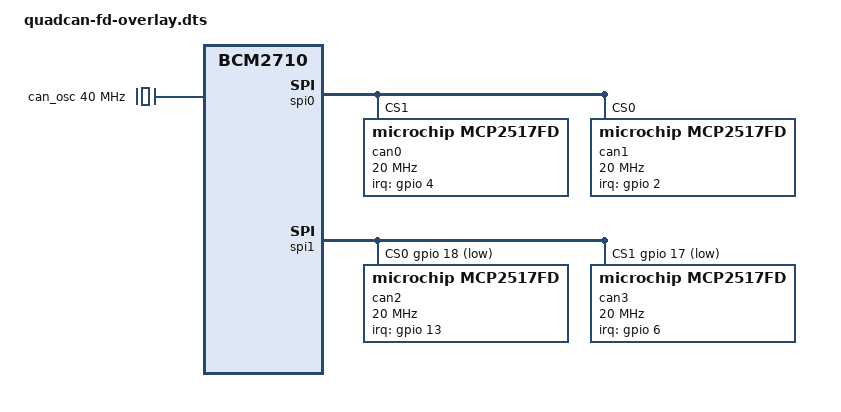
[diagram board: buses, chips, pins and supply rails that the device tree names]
/dts-v1/;
/plugin/;

/ {
    compatible = "brcm,bcm2835", "brcm,bcm2836", "brcm,bcm2837", "brcm,bcm2708", "brcm,bcm2709",  "brcm,bcm2710";

    /* disable spi-dev for spi0.0 and spi0.1 */
    fragment@0 {
        target = <&spi0>;
        __overlay__ {
            status = "okay";
            spidev@0{
                status = "disabled";
            };
            spidev@1{
                status = "disabled";
            };
        };
    };

    /* disable spi-dev for spi1.0 and spi1.1 */
    fragment@1 {
        target = <&spi1>;
        __overlay__ {
            status = "okay";
            spidev@0{
                status = "disabled";
            };
            spidev@1{
                status = "disabled";
            };
        };
    };

    fragment@2 {
        target = <&gpio>;
        __overlay__ {
            interrupt_pins: interrupt_pins {
                brcm,pins = <2 4 6 13>;
                brcm,function = <0>; /* input */
            };

            spi1_pins: spi1_pins {
                brcm,pins = <19 20 21>;
                brcm,function = <3>; /* alt4 */
            };

            spi1_cs_pins: spi1_cs_pins {
                brcm,pins = <17 18>;
                brcm,function = <1>; /* output */
            };
        };
    };

    /* can oscillator */
    fragment@3 {
        target-path = "/clocks";
        __overlay__ {
            /* external oscillator of mcp2517s */
            can_osc: can_osc {
                #address-cells = <1>;
                #size-cells = <0>;
                compatible = "fixed-clock";
                #clock-cells = <0>;
                clock-frequency  = <40000000>;
            };
        };
    };

    fragment@4 {
        target = <&spi0>;
        __overlay__ {
            /* needed to avoid dtc warning */
            #address-cells = <1>;
            #size-cells = <0>;
            can0: can@1 {
                compatible = "microchip,mcp2517fd";
                reg = <1>;
                #address-cells = <1>;
                #size-cells = <0>;
                clocks = <&can_osc>;
                interrupt-parent = <&gpio>;
                interrupts = <4 0x8>;
                gpio-controller;
                spi-max-frequency = <20000000>;
		microchip,gpio0-xstandby;
            };
            can1: can@0 {
                compatible = "microchip,mcp2517fd";
                reg = <0>;
                #address-cells = <1>;
                #size-cells = <0>;
                clocks = <&can_osc>;
                interrupt-parent = <&gpio>;
                interrupts = <2 0x8>;
                gpio-controller;
                spi-max-frequency = <20000000>;
		microchip,gpio0-xstandby;
            };
        };
    };

    fragment@5 {
        target = <&spi1>;
        __overlay__ {
            /* needed to avoid dtc warning */
            #address-cells = <1>;
            #size-cells = <0>;
            pinctrl-names = "default";
            pinctrl-0 = <&spi1_pins &spi1_cs_pins>;
            cs-gpios = <&gpio 18 1>, <&gpio 17 1>;

            can2: can@0 {
                compatible = "microchip,mcp2517fd";
                reg = <0>;
                #address-cells = <1>;
                #size-cells = <0>;
                clocks = <&can_osc>;
                interrupt-parent = <&gpio>;
                interrupts = <13 0x8>;
                gpio-controller;
                spi-max-frequency = <20000000>;
		microchip,gpio0-xstandby;
            };
            can3: can@1 {
                compatible = "microchip,mcp2517fd";
                reg = <1>;
                #address-cells = <1>;
                #size-cells = <0>;
                clocks = <&can_osc>;
                interrupt-parent = <&gpio>;
                interrupts = <6 0x8>;
                gpio-controller;
                spi-max-frequency = <20000000>;
		microchip,gpio0-xstandby;
            };
        };
    };
};
